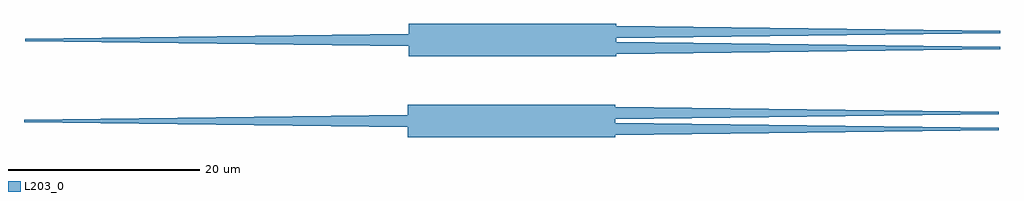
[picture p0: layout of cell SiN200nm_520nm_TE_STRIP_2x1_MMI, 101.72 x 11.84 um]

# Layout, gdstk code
import gdstk
lib = gdstk.Library(unit=1e-6, precision=1e-09)
def R(c, l, rs):  # rectangles x0, y0, x1, y1
    for r in rs: c.add(gdstk.rectangle(r[:2], r[2:], *l))
def P(c, l, *ps):  # polygons
    for p in ps: c.add(gdstk.Polygon(p, *l))
L203_0 = (203, 0)

sin200nm_520nm_te_strip_ = lib.new_cell('SiN200nm_520nm_TE_STRIP_2x1_MMI')
R(sin200nm_520nm_te_strip_, L203_0, [(40,-1.7,61.6,1.7), (40.121,6.738,61.721,10.138)])
P(sin200nm_520nm_te_strip_, L203_0, [(40.121,7.788),(0.121,8.303),(0.121,8.573),(40.121,9.088)],
  [(61.721,6.938),(61.721,8.238),(101.721,7.723),(101.721,7.453)],
  [(61.721,8.638),(61.721,9.938),(101.721,9.423),(101.721,9.153)],
  [(40,-0.65),(0,-0.135),(0,0.135),(40,0.65)],
  [(61.6,-1.5),(61.6,-0.2),(101.6,-0.715),(101.6,-0.985)],
  [(61.6,0.2),(61.6,1.5),(101.6,0.985),(101.6,0.715)])

lib.write_gds('SiN200nm_520nm_TE_STRIP_2x1_MMI.gds')
